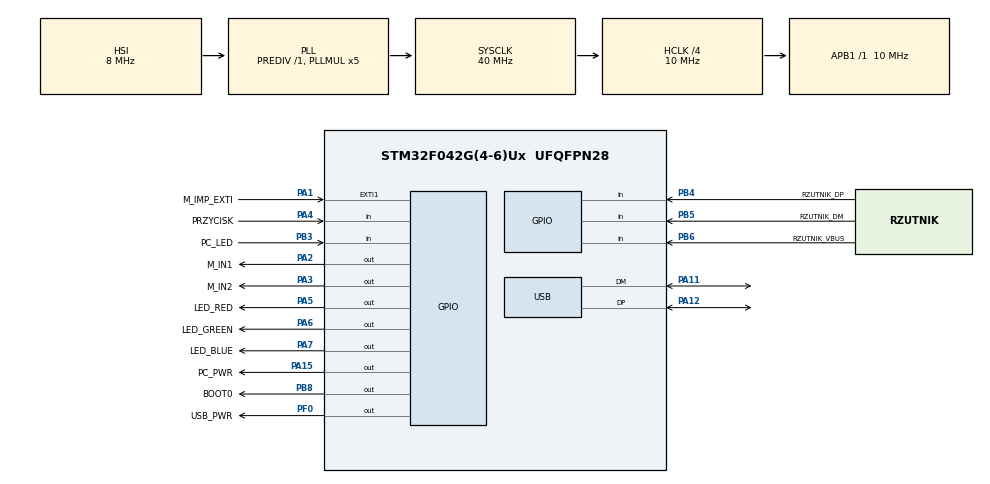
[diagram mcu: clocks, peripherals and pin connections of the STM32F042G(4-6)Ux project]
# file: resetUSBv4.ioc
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Mcu.Family=STM32F0
Mcu.Name=STM32F042G(4-6)Ux
Mcu.Package=UFQFPN28
NVIC.TIM14_IRQn=true\:0\:0\:false\:false\:true\:true
PA1.GPIO_Label=M_IMP_EXTI
PA1.Signal=GPXTI1
PA11.Mode=Device
PA11.Signal=USB_DM
PA12.Mode=Device
PA12.Signal=USB_DP
PA13.Mode=Serial_Wire
PA13.Signal=SYS_SWDIO
PA14.Mode=Serial_Wire
PA14.Signal=SYS_SWCLK
PA15.GPIO_Label=PC_PWR
PA15.GPIO_ModeDefaultOutputPP=GPIO_MODE_OUTPUT_OD
PA15.GPIO_PuPd=GPIO_NOPULL
PA15.PinState=GPIO_PIN_SET
PA15.Signal=GPIO_Output
PA2.GPIO_Label=M_IN1
PA2.PinState=GPIO_PIN_SET
PA2.Signal=GPIO_Output
PA3.GPIO_Label=M_IN2
PA3.PinState=GPIO_PIN_SET
PA3.Signal=GPIO_Output
PA4.GPIO_Label=PRZYCISK
PA4.GPIO_PuPd=GPIO_PULLUP
PA4.Signal=GPIO_Input
PA5.GPIO_Label=LED_RED
PA5.Signal=GPIO_Output
PA6.GPIO_Label=LED_GREEN
PA6.Signal=GPIO_Output
PA7.GPIO_Label=LED_BLUE
PA7.Signal=GPIO_Output
PB3.GPIO_Label=PC_LED
PB3.GPIO_PuPd=GPIO_PULLDOWN
PB3.Signal=GPIO_Input
PB4.GPIO_Label=RZUTNIK_DP
PB4.GPIO_PuPd=GPIO_PULLDOWN
PB4.Signal=GPIO_Input
PB5.GPIO_Label=RZUTNIK_DM
PB5.GPIO_PuPd=GPIO_PULLDOWN
PB5.Signal=GPIO_Input
PB6.GPIO_Label=RZUTNIK_VBUS
PB6.GPIO_PuPd=GPIO_PULLDOWN
PB6.Signal=GPIO_Input
PB8.GPIO_Label=BOOT0
PB8.Signal=GPIO_Output
PF0-OSC_IN.GPIO_Label=USB_PWR
PF0-OSC_IN.GPIO_ModeDefaultOutputPP=GPIO_MODE_OUTPUT_OD
PF0-OSC_IN.PinState=GPIO_PIN_SET
PF0-OSC_IN.Signal=GPIO_Output
ProjectManager.HeapSize=0x200
ProjectManager.StackSize=0x400
ProjectManager.TargetToolchain=SW4STM32
RCC.AHBCLKDivider=RCC_SYSCLK_DIV4
RCC.AHBFreq_Value=10000000
RCC.APB1Freq_Value=10000000
RCC.APB1TimFreq_Value=10000000
RCC.HCLKFreq_Value=10000000
RCC.PLLMUL=RCC_PLL_MUL5
RCC.SYSCLKFreq_VALUE=40000000
RCC.SYSCLKSource=RCC_SYSCLKSOURCE_PLLCLK
TIM14.ClockDivision=TIM_CLOCKDIVISION_DIV1
TIM14.Period=50000
TIM14.Prescaler=10
VP_SYS_VS_PINREMAP.Mode=PINREMAP
VP_TIM14_VS_ClockSourceINT.Mode=Enable_Timer
board=resetUSBv4

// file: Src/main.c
/**
  ******************************************************************************
  * @file           : main.c
  * @brief          : Main program body
  ******************************************************************************
  ** This notice applies to any and all portions of this file
  * that are not between comment pairs USER CODE BEGIN and
  * USER CODE END. Other portions of this file, whether
  * inserted by the user or by software development tools
  * are owned by their respective copyright owners.
  *
  * COPYRIGHT(c) 2018 STMicroelectronics
  *
  * Redistribution and use in source and binary forms, with or without modification,
  * are permitted provided that the following conditions are met:
  *   1. Redistributions of source code must retain the above copyright notice,
  *      this list of conditions and the following disclaimer.
  *   2. Redistributions in binary form must reproduce the above copyright notice,
  *      this list of conditions and the following disclaimer in the documentation
  *      and/or other materials provided with the distribution.
  *   3. Neither the name of STMicroelectronics nor the names of its contributors
  *      may be used to endorse or promote products derived from this software
  *      without specific prior written permission.
  *
  * THIS SOFTWARE IS PROVIDED BY THE COPYRIGHT HOLDERS AND CONTRIBUTORS "AS IS"
  * AND ANY EXPRESS OR IMPLIED WARRANTIES, INCLUDING, BUT NOT LIMITED TO, THE
  * IMPLIED WARRANTIES OF MERCHANTABILITY AND FITNESS FOR A PARTICULAR PURPOSE ARE
  * DISCLAIMED. IN NO EVENT SHALL THE COPYRIGHT HOLDER OR CONTRIBUTORS BE LIABLE
  * FOR ANY DIRECT, INDIRECT, INCIDENTAL, SPECIAL, EXEMPLARY, OR CONSEQUENTIAL
  * DAMAGES (INCLUDING, BUT NOT LIMITED TO, PROCUREMENT OF SUBSTITUTE GOODS OR
  * SERVICES; LOSS OF USE, DATA, OR PROFITS; OR BUSINESS INTERRUPTION) HOWEVER
  * CAUSED AND ON ANY THEORY OF LIABILITY, WHETHER IN CONTRACT, STRICT LIABILITY,
  * OR TORT (INCLUDING NEGLIGENCE OR OTHERWISE) ARISING IN ANY WAY OUT OF THE USE
  * OF THIS SOFTWARE, EVEN IF ADVISED OF THE POSSIBILITY OF SUCH DAMAGE.
  *
  ******************************************************************************
  */
#include "main.h"
#include "stm32f0xx_hal.h"

TIM_HandleTypeDef htim14;

PCD_HandleTypeDef hpcd_USB_FS;

/* USER CODE BEGIN PV */
/* Private variables ---------------------------------------------------------*/
enum stany_programu
{
	oczekiwanie,
	silownik_gora,
	silownik_dol
};

volatile enum stany_programu stan = oczekiwanie;
volatile uint8_t przycisk_flag = 0;

volatile uint8_t pc_on, rz_on, przycisk_on, pc_pwr;
volatile uint8_t tryb = 0; // 0 - normalny, 1 - serwisowy
volatile uint8_t flag_zmiana_trybu;

volatile uint8_t flag_1Hz;
volatile uint8_t flag_2Hz;
/* USER CODE END PV */

void SystemClock_Config(void);
static void MX_GPIO_Init(void);
static void MX_USB_PCD_Init(void);
static void MX_TIM14_Init(void);

/* USER CODE BEGIN PFP */
/* Private function prototypes -----------------------------------------------*/
#define PC_ON ( HAL_GPIO_ReadPin(PC_LED_GPIO_Port, PC_LED_Pin) )
#define RZUTNIK_ON ( HAL_GPIO_ReadPin(RZUTNIK_VBUS_GPIO_Port, RZUTNIK_VBUS_Pin|RZUTNIK_DM_Pin|RZUTNIK_DP_Pin) )
#define PRZYCISK_DOWN ( HAL_GPIO_ReadPin(PRZYCISK_GPIO_Port, PRZYCISK_Pin) == 0)
#define PWR_ON ( HAL_GPIO_WritePin(PC_PWR_GPIO_Port, PC_PWR_Pin, GPIO_PIN_RESET) )
#define PWR_OFF ( HAL_GPIO_WritePin(PC_PWR_GPIO_Port, PC_PWR_Pin, GPIO_PIN_SET) )
#define RED_ON ( HAL_GPIO_WritePin(LED_RED_GPIO_Port, LED_RED_Pin, GPIO_PIN_SET) )
#define RED_OFF ( HAL_GPIO_WritePin(LED_RED_GPIO_Port, LED_RED_Pin, GPIO_PIN_RESET) )
#define RED_TOG ( HAL_GPIO_TogglePin(LED_RED_GPIO_Port, LED_RED_Pin) )
#define GREEN_ON ( HAL_GPIO_WritePin(LED_GREEN_GPIO_Port, LED_GREEN_Pin, GPIO_PIN_SET) )
#define GREEN_OFF ( HAL_GPIO_WritePin(LED_GREEN_GPIO_Port, LED_GREEN_Pin, GPIO_PIN_RESET) )
#define GREEN_TOG ( HAL_GPIO_TogglePin(LED_GREEN_GPIO_Port, LED_GREEN_Pin) )
#define BLUE_ON ( HAL_GPIO_WritePin(LED_BLUE_GPIO_Port, LED_BLUE_Pin, GPIO_PIN_SET) )
#define BLUE_OFF ( HAL_GPIO_WritePin(LED_BLUE_GPIO_Port, LED_BLUE_Pin, GPIO_PIN_RESET) )
#define BLUE_TOG ( HAL_GPIO_TogglePin(LED_BLUE_GPIO_Port, LED_BLUE_Pin) )

void HAL_TIM_PeriodElapsedCallback(TIM_HandleTypeDef *htim)
{
	if(htim->Instance == TIM14)	// 20 Hz
	{
		// Parametry obslugi sygnalow i przycisku
		const uint8_t reakcja_na_sygnal_czas = 60;		// reakcja na sygnal, gdy utrzyma sie dluzej niz zadana liczba dziesi¹tych czêœci sekund (20 Hz)
		const uint8_t reakcja_na_przycisk_czas = 2;		// reakcja na przycisk, musi byc wcisniety dluzej niz 0,1 s.
		const uint8_t pc_pwr_czas = 10;					// wcisniecie przycisku PWR po zadanym czasie (20 Hz)
		const uint8_t tryb_czas_na_wcisniecia = 30;		// czas w ktorym trzeba wcisnac przycisk n razy
		const uint8_t tryb_ilosc_wcisniec_zmiana = 3;	// po ilu wcisnieciach zmieni sie tryb na serwisowy

		static uint8_t pc_on_s, pc_off_s;		// zliczanie sekund wlaczenia\wylaczenia PC i jego stan
		static uint8_t rz_on_s, rz_off_s;		// zliczanie sekund wlaczenia\wylaczenia rzutnika i jego stan
		static uint8_t przycisk_on_s;			// zliczanie sekund wcisniecia przycisku i jego stan

		// ---------- Licznik najblizszego czasu ----------
		static uint8_t licznik = 0;
		if(licznik) licznik--;
		// ----- reakcja na przycisk - filtracja i zliczanie wciœniêæ -----
		static uint8_t wcisniecia = 0;
		if(PRZYCISK_DOWN)
		{
			if(przycisk_on_s<255) przycisk_on_s++; // licznik czasu wcisniecia przycisku
			if(przycisk_on_s >= reakcja_na_przycisk_czas) // reakcja na wcisniecie przycisku, gdy wcisniety dluzej niz
			{
				przycisk_on = 1;	// Ustaw stan przycisku na 1 - wcisniety
				if(!licznik) wcisniecia = 0; // Gdy licznik doliczyl do zera wyzeruj wcisniecia
				if(!wcisniecia) licznik = tryb_czas_na_wcisniecia; // Po pierwszym wcisnieciu przycisku wyzeruj licznik - zliczaj wcisniecia z ostatnich 1,5 s
				if(przycisk_on_s == reakcja_na_przycisk_czas) // Licz wcisniecia tylko w ustalonym czasie reakcji na przycisk
				{
					wcisniecia++;
					if(wcisniecia == tryb_ilosc_wcisniec_zmiana) // Zmiana trybu po osiagnieciu ustalonej liczby wcisniec
					{
						flag_zmiana_trybu = 1;	// zmiana trybu serwisowy/normalny
						wcisniecia = 0; // wyzeruj ilosc wcisniec i licznik (kolejne 3 wcisniecia liczone beda od nowa)
						licznik = 0;
					} // Zmiana trybu
				} // Licz wcisniecia

				// Ustaw flage pc_pwr po zadanym czasie wcisniecia przycisku
				if(przycisk_on_s >= pc_pwr_czas) pc_pwr = 1;
				else pc_pwr = 0;
			} // Reakcja na wcisniety przycisk
		} // PRZYCISK_DOWN
		else // Przycisk nie wcisniety
		{
			przycisk_on = 0;
			przycisk_on_s = 0;
			pc_pwr = 0;
		}

		// ---------- reakcja na sygnal od PC i rzutnika ----------
		if(PC_ON) { // PC wlaczony
			if(pc_on_s<reakcja_na_sygnal_czas) pc_on_s++;
			else pc_on = 1;
			pc_off_s = 0;
		}
		else { // PC wylaczony
			if(pc_off_s<reakcja_na_sygnal_czas) pc_off_s++;
			else pc_on = 0;
			pc_on_s = 0;
		}
		if(RZUTNIK_ON) { // rzutnik wlaczony
			if(rz_on_s<reakcja_na_sygnal_czas) rz_on_s++;
			else rz_on = 1;
			rz_off_s = 0;
		}
		else { // rzutnik wylaczony
			if(rz_off_s<reakcja_na_sygnal_czas) rz_off_s++;
			else rz_on = 0;
			rz_on_s = 0;
		}
	} // TIM14
}
/* USER CODE END PFP */

int main(void)
{

  /* MCU Configuration----------------------------------------------------------*/

  /* Reset of all peripherals, Initializes the Flash interface and the Systick. */
  HAL_Init();

  /* Configure the system clock */
  SystemClock_Config();

  /* Initialize all configured peripherals */
  MX_GPIO_Init();
  MX_USB_PCD_Init();
  MX_TIM14_Init();
  /* USER CODE BEGIN 2 */
  // Testowe mrugranie diod
  for(int i = 0; i < 10; i++)
  {
	  RED_TOG;
	  GREEN_TOG;
	  BLUE_TOG;
	  HAL_Delay(250);
  }

  RED_ON;

  while(1)
  {
  if(PRZYCISK_DOWN)
  {
	  GREEN_ON;
	  BLUE_OFF;
	  HAL_GPIO_WritePin(BOOT0_GPIO_Port, BOOT0_Pin, GPIO_PIN_SET);
	  HAL_Delay(1000);
	  NVIC_SystemReset();
  }
	  else
	  {
		  GREEN_OFF;
		  BLUE_ON;
	  }
  }

//  HAL_Delay(1250);
//  NVIC_SystemReset();

  const uint8_t liczba_prob_wylaczenia = 5;
  const uint8_t czas_na_wylaczenie = 60; //s
  const uint8_t czas_na_wlaczenie = 10; //s
  const uint8_t czas_wylaczanie_twarde = 10; //s
  uint8_t flag_czekaj = 0;
  uint8_t flag_wylaczanie = 0;
  uint8_t flag_wylaczanie_twarde = 0;
  uint8_t flag_wlaczanie = 0;
  uint8_t licznik_prob = 0;
  /* USER CODE END 2 */

  /* Infinite loop */
  /* USER CODE BEGIN WHILE */
  while (1)
  {
	  //watchdog
	  if(flag_zmiana_trybu) // Zmiana trybu
	  {
		  flag_zmiana_trybu = 0;
		  tryb ^= 1;
	  }

	  // Przycisk wcisniety dluzej niz 1s
	  if(pc_pwr || flag_wylaczanie_twarde)
	  {
		  PWR_ON;
	  }
	  else if(!flag_wylaczanie_twarde) PWR_OFF;

	  if(tryb) // serwisowy
	  		{
	  			// W trybie serwisowym wejœcia nie maj¹ wp³ywu na w³¹czanie/wy³¹czanie komputera
	  			if(flag_2Hz)
	  			{
	  				flag_2Hz = 0;
	  				RED_TOG;
	  				if(PC_ON) GREEN_TOG;
	  				else GREEN_OFF;
	  				if(RZUTNIK_ON) BLUE_TOG;
	  				else BLUE_OFF;
	  			}
	  		} // serwisowy
	  		else // normalny
	  		{
	  			if(flag_2Hz) // Mruganie diod podczas wlaczania / wylaczania PC
	  			{
	  				flag_2Hz = 0;
	  				if(flag_wlaczanie) BLUE_TOG;
	  				if(flag_wylaczanie) GREEN_TOG;
	  				if(flag_wylaczanie_twarde)
	  				{
	  					// Mruganie przy twardym wylaczaniu ma byc wolniejsze
	  					static uint8_t opoznienie = 0;
	  					if(opoznienie) opoznienie--;
	  					else
	  					{
	  						opoznienie = 3;
	  						GREEN_TOG;
	  					}
	  				}
	  			}
	  			// Diody informuj¹ce
	  			RED_ON;
	  			if(PC_ON)
	  			{
	  				if(!(flag_wylaczanie||flag_wylaczanie_twarde)) GREEN_ON;
	  			}
	  			else GREEN_OFF;
	  			if(RZUTNIK_ON)
	  			{
	  				if(!flag_wlaczanie) BLUE_ON;
	  			}
	  			else BLUE_OFF;

	  			// ----- Obsluga stanow -----
	  			if((pc_on&&rz_on) || !(pc_on||rz_on)) //wszystko jest w³¹czone / wy³¹czone - OK
	  			{
	  				licznik_prob = 0;
	  				flag_czekaj = 0;
	  				flag_wylaczanie = 0;
	  				flag_wylaczanie_twarde = 0;
	  				flag_wlaczanie = 0;
	  				PWR_OFF;
	  			}
	  			else if (pc_on && !rz_on) //PC w³¹czony, rzutnik wy³¹czony - wy³¹cz PC
	  			{
	  				if(!flag_czekaj) // czekaj minutê po wciœniêciu
	  				{
	  					if(licznik_prob<255) licznik_prob++;
	  					if(licznik_prob <= liczba_prob_wylaczenia) // wylacz normalnie
	  					{
	  						flag_wylaczanie = 1;
	  						PWR_ON;
	  						HAL_Delay(500);
	  						PWR_OFF;
	  						// czekaj minutê
	  						flag_czekaj = czas_na_wylaczenie;
	  					}
	  					else // wylaczanie twarde
	  					{
	  						flag_wylaczanie_twarde = 1;
	  						flag_czekaj = czas_wylaczanie_twarde;
	  						//PWR_ON;
	  					}
	  				}
	  			}
	  			else if(!pc_on && rz_on) // Rzutnik w³¹czony, PC wy³¹czony - w³¹cz PC
	  			{
	  				if(!flag_czekaj) // czekaj 10s po wciœniêciu
	  				{
	  					flag_wlaczanie = 1;
	  					PWR_ON;
	  					HAL_Delay(500);
	  					PWR_OFF;
	  					// czekaj 10s
	  					flag_czekaj = czas_na_wlaczenie;
	  				}
	  			}
	  		} // normalny

  /* USER CODE END WHILE */

  }

}

void SystemClock_Config(void)
{

  RCC_OscInitTypeDef RCC_OscInitStruct;
  RCC_ClkInitTypeDef RCC_ClkInitStruct;
  RCC_PeriphCLKInitTypeDef PeriphClkInit;

    /**Initializes the CPU, AHB and APB busses clocks
    */
  RCC_OscInitStruct.OscillatorType = RCC_OSCILLATORTYPE_HSI|RCC_OSCILLATORTYPE_HSI48;
  RCC_OscInitStruct.HSIState = RCC_HSI_ON;
  RCC_OscInitStruct.HSI48State = RCC_HSI48_ON;
  RCC_OscInitStruct.HSICalibrationValue = 16;
  RCC_OscInitStruct.PLL.PLLState = RCC_PLL_ON;
  RCC_OscInitStruct.PLL.PLLSource = RCC_PLLSOURCE_HSI;
  RCC_OscInitStruct.PLL.PLLMUL = RCC_PLL_MUL5;
  RCC_OscInitStruct.PLL.PREDIV = RCC_PREDIV_DIV1;
  if (HAL_RCC_OscConfig(&RCC_OscInitStruct) != HAL_OK)
  {
    _Error_Handler(__FILE__, __LINE__);
  }

    /**Initializes the CPU, AHB and APB busses clocks
    */
  RCC_ClkInitStruct.ClockType = RCC_CLOCKTYPE_HCLK|RCC_CLOCKTYPE_SYSCLK
                              |RCC_CLOCKTYPE_PCLK1;
  RCC_ClkInitStruct.SYSCLKSource = RCC_SYSCLKSOURCE_PLLCLK;
  RCC_ClkInitStruct.AHBCLKDivider = RCC_SYSCLK_DIV4;
  RCC_ClkInitStruct.APB1CLKDivider = RCC_HCLK_DIV1;

  if (HAL_RCC_ClockConfig(&RCC_ClkInitStruct, FLASH_LATENCY_0) != HAL_OK)
  {
    _Error_Handler(__FILE__, __LINE__);
  }

  PeriphClkInit.PeriphClockSelection = RCC_PERIPHCLK_USB;
  PeriphClkInit.UsbClockSelection = RCC_USBCLKSOURCE_HSI48;

  if (HAL_RCCEx_PeriphCLKConfig(&PeriphClkInit) != HAL_OK)
  {
    _Error_Handler(__FILE__, __LINE__);
  }

    /**Configure the Systick interrupt time
    */
  HAL_SYSTICK_Config(HAL_RCC_GetHCLKFreq()/1000);

    /**Configure the Systick
    */
  HAL_SYSTICK_CLKSourceConfig(SYSTICK_CLKSOURCE_HCLK);

  /* SysTick_IRQn interrupt configuration */
  HAL_NVIC_SetPriority(SysTick_IRQn, 0, 0);
}

/* TIM14 init function */
static void MX_TIM14_Init(void)
{

  htim14.Instance = TIM14;
  htim14.Init.Prescaler = 10;
  htim14.Init.CounterMode = TIM_COUNTERMODE_UP;
  htim14.Init.Period = 50000;
  htim14.Init.ClockDivision = TIM_CLOCKDIVISION_DIV1;
  htim14.Init.AutoReloadPreload = TIM_AUTORELOAD_PRELOAD_DISABLE;
  if (HAL_TIM_Base_Init(&htim14) != HAL_OK)
  {
    _Error_Handler(__FILE__, __LINE__);
  }

}

/* USB init function */
static void MX_USB_PCD_Init(void)
{

  hpcd_USB_FS.Instance = USB;
  hpcd_USB_FS.Init.dev_endpoints = 8;
  hpcd_USB_FS.Init.speed = PCD_SPEED_FULL;
  hpcd_USB_FS.Init.ep0_mps = DEP0CTL_MPS_64;
  hpcd_USB_FS.Init.phy_itface = PCD_PHY_EMBEDDED;
  hpcd_USB_FS.Init.low_power_enable = DISABLE;
  hpcd_USB_FS.Init.lpm_enable = DISABLE;
  hpcd_USB_FS.Init.battery_charging_enable = DISABLE;
  if (HAL_PCD_Init(&hpcd_USB_FS) != HAL_OK)
  {
    _Error_Handler(__FILE__, __LINE__);
  }

}

/** Configure pins as
        * Analog
        * Input
        * Output
        * EVENT_OUT
        * EXTI
*/
static void MX_GPIO_Init(void)
{

  GPIO_InitTypeDef GPIO_InitStruct;

  /* GPIO Ports Clock Enable */
  __HAL_RCC_GPIOB_CLK_ENABLE();
  __HAL_RCC_GPIOF_CLK_ENABLE();
  __HAL_RCC_GPIOA_CLK_ENABLE();

  /*Configure GPIO pin Output Level */
  HAL_GPIO_WritePin(BOOT0_GPIO_Port, BOOT0_Pin, GPIO_PIN_RESET);

  /*Configure GPIO pin Output Level */
  HAL_GPIO_WritePin(USB_PWR_GPIO_Port, USB_PWR_Pin, GPIO_PIN_SET);

  /*Configure GPIO pin Output Level */
  HAL_GPIO_WritePin(GPIOA, M_IN1_Pin|M_IN2_Pin|PC_PWR_Pin, GPIO_PIN_SET);

  /*Configure GPIO pin Output Level */
  HAL_GPIO_WritePin(GPIOA, LED_RED_Pin|LED_GREEN_Pin|LED_BLUE_Pin, GPIO_PIN_RESET);

  /*Configure GPIO pin : BOOT0_Pin */
  GPIO_InitStruct.Pin = BOOT0_Pin;
  GPIO_InitStruct.Mode = GPIO_MODE_OUTPUT_PP;
  GPIO_InitStruct.Pull = GPIO_NOPULL;
  GPIO_InitStruct.Speed = GPIO_SPEED_FREQ_LOW;
  HAL_GPIO_Init(BOOT0_GPIO_Port, &GPIO_InitStruct);

  /*Configure GPIO pin : USB_PWR_Pin */
  GPIO_InitStruct.Pin = USB_PWR_Pin;
  GPIO_InitStruct.Mode = GPIO_MODE_OUTPUT_OD;
  GPIO_InitStruct.Pull = GPIO_NOPULL;
  GPIO_InitStruct.Speed = GPIO_SPEED_FREQ_LOW;
  HAL_GPIO_Init(USB_PWR_GPIO_Port, &GPIO_InitStruct);

  /*Configure GPIO pin : M_IMP_EXTI_Pin */
  GPIO_InitStruct.Pin = M_IMP_EXTI_Pin;
  GPIO_InitStruct.Mode = GPIO_MODE_IT_RISING;
  GPIO_InitStruct.Pull = GPIO_NOPULL;
  HAL_GPIO_Init(M_IMP_EXTI_GPIO_Port, &GPIO_InitStruct);

  /*Configure GPIO pins : M_IN1_Pin M_IN2_Pin LED_RED_Pin LED_GREEN_Pin
                           LED_BLUE_Pin */
  GPIO_InitStruct.Pin = M_IN1_Pin|M_IN2_Pin|LED_RED_Pin|LED_GREEN_Pin
                          |LED_BLUE_Pin;
  GPIO_InitStruct.Mode = GPIO_MODE_OUTPUT_PP;
  GPIO_InitStruct.Pull = GPIO_NOPULL;
  GPIO_InitStruct.Speed = GPIO_SPEED_FREQ_LOW;
  HAL_GPIO_Init(GPIOA, &GPIO_InitStruct);

  /*Configure GPIO pin : PRZYCISK_Pin */
  GPIO_InitStruct.Pin = PRZYCISK_Pin;
  GPIO_InitStruct.Mode = GPIO_MODE_INPUT;
  GPIO_InitStruct.Pull = GPIO_PULLUP;
  HAL_GPIO_Init(PRZYCISK_GPIO_Port, &GPIO_InitStruct);

  /*Configure GPIO pin : PC_PWR_Pin */
  GPIO_InitStruct.Pin = PC_PWR_Pin;
  GPIO_InitStruct.Mode = GPIO_MODE_OUTPUT_OD;
  GPIO_InitStruct.Pull = GPIO_NOPULL;
  GPIO_InitStruct.Speed = GPIO_SPEED_FREQ_LOW;
  HAL_GPIO_Init(PC_PWR_GPIO_Port, &GPIO_InitStruct);

  /*Configure GPIO pins : PC_LED_Pin RZUTNIK_DP_Pin RZUTNIK_DM_Pin RZUTNIK_VBUS_Pin */
  GPIO_InitStruct.Pin = PC_LED_Pin|RZUTNIK_DP_Pin|RZUTNIK_DM_Pin|RZUTNIK_VBUS_Pin;
  GPIO_InitStruct.Mode = GPIO_MODE_INPUT;
  GPIO_InitStruct.Pull = GPIO_PULLDOWN;
  HAL_GPIO_Init(GPIOB, &GPIO_InitStruct);

}

void _Error_Handler(char *file, int line)
{
  while(1)
  {
  }
}

/************************ (C) COPYRIGHT STMicroelectronics *****END OF FILE****/
